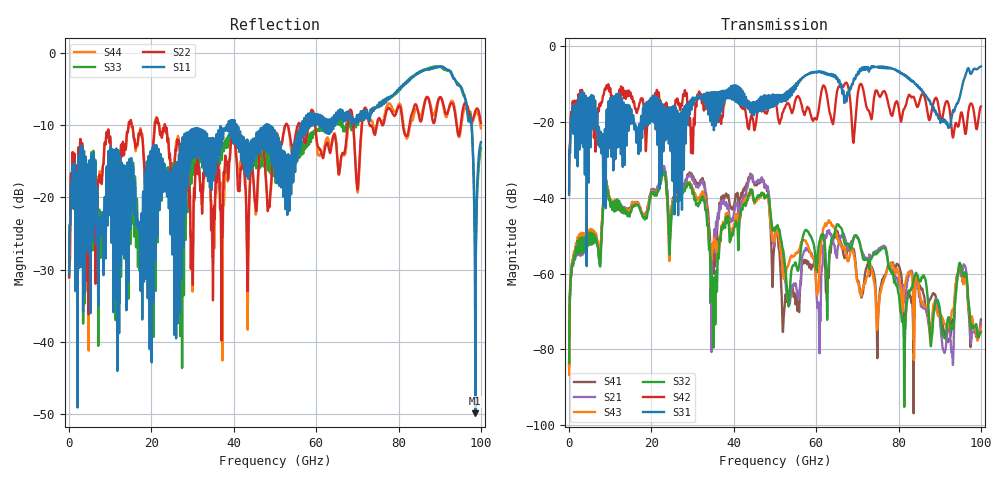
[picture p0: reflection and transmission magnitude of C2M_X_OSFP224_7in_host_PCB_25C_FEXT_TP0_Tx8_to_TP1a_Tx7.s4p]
# GHz S RI R 45
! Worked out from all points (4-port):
!   4000 points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, 25 MHz to 100 GHz, reference 45 ohm
!   strongest paths, dB at 25 MHz, 25.02 GHz, 50.02 GHz, 75.03 GHz, 100 GHz:
!     S31: -39.2, -18.3, -14.0, -5.4, -5.4
!     S42: -38.6, -21.8, -13.7, -12.6, -15.9
!     S32: -83.6, -43.7, -48.5, -54.4, -75.3
!     S43: -86.7, -42.2, -50.8, -70.7, -74.2
!     S21: -84.0, -43.3, -50.2, -53.8, -72.9
!     S41: -84.5, -41.8, -48.8, -72.1, -72.1
!   lowest |S11| = -49.9 dB at 98.65 GHz (marker M1), VSWR 1.01, Z = 45.3 + j0.137 ohm
!   |S11| at or under -10 dB: start of sweep to 38.31 GHz; 40.67 GHz to 47.48 GHz (6.814 GHz wide, 15.5 % of centre); 48.5 GHz to 56.52 GHz (8.028 GHz wide, 15.3 % of centre) (the widest 3 of 26)
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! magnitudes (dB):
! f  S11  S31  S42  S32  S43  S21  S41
! 25 MHz  -30.7  -39.2  -38.6  -83.6  -86.7  -84.0  -84.5
! 22.98 GHz  -17.4  -22.6  -18.2  -33.0  -33.1  -31.7  -31.6
! 35.12 GHz  -17.7  -18.2  -16.1  -73.2  -52.9  -52.3  -57.0
! 44.15 GHz  -12.2  -15.5  -18.8  -38.3  -38.5  -34.4  -34.3
! 52.12 GHz  -17.7  -14.5  -16.8  -54.8  -61.3  -57.1  -71.4
! 98.65 GHz  -49.9  -6.0  -20.2  -73.9  -74.6  -75.7  -75.3
! 100 GHz  -12.3  -5.4  -15.9  -75.3  -74.2  -72.9  -72.1
